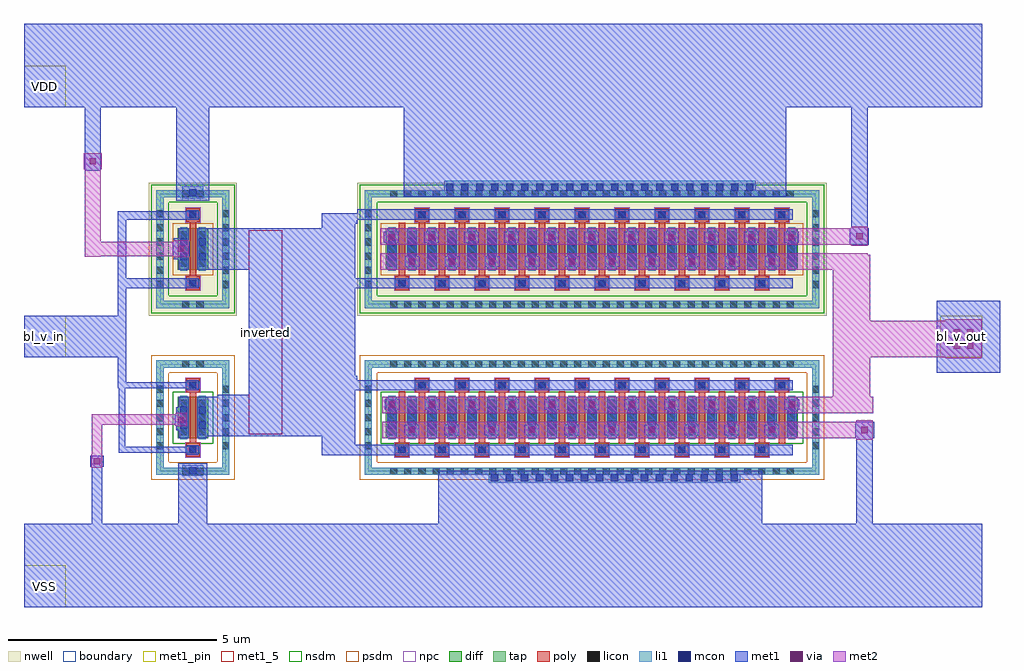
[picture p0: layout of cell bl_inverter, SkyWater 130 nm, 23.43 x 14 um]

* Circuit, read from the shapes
.subckt bl_inverter VDD VSS bl_v_in bl_v_out inverted
XM1 inverted bl_v_in VSS VSS sky130_fd_pr__nfet_01v8 w=1 l=0.15
XM2 VSS inverted bl_v_out VSS sky130_fd_pr__nfet_01v8 w=1 l=0.15 m=20
XM3 inverted bl_v_in VDD VDD sky130_fd_pr__pfet_01v8 w=1 l=0.15
XM4 bl_v_out inverted VDD VDD sky130_fd_pr__pfet_01v8 w=1 l=0.15 m=20
.ends

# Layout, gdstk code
import gdstk
lib = gdstk.Library(unit=1e-6, precision=1e-09)
def R(c, l, rs):  # rectangles x0, y0, x1, y1
    for r in rs: c.add(gdstk.rectangle(r[:2], r[2:], *l))
def A(c, l, x, y, w, h, nx, ny, dx, dy):  # array of equal rectangles
    R(c, l, [(x+i*dx, y+j*dy, x+i*dx+w, y+j*dy+h) for i in range(nx) for j in range(ny)])
nwell = (64, 20)
diff = (65, 20)
tap = (65, 44)
poly = (66, 20)
licon = (66, 44)
li1 = (67, 20)
mcon = (67, 44)
met1_5 = (68, 5)
met1_pin = (68, 16)
met1 = (68, 20)
via = (68, 44)
met2 = (69, 20)
nsdm = (93, 44)
psdm = (94, 20)
npc = (95, 20)
boundary = (235, 4)

sky130_fd_pr__pfet_01v8_ = lib.new_cell('sky130_fd_pr__pfet_01v8_XGS3BL')
R(sky130_fd_pr__pfet_01v8_, nwell, [(-1.055,-1.595,1.055,1.595)])
R(sky130_fd_pr__pfet_01v8_, diff, [(-0.365,-0.5,0.365,0.5)])
R(sky130_fd_pr__pfet_01v8_, tap, [(-0.875,-1.415,0.875,-1.245), (-0.875,-1.245,-0.705,1.245), (0.705,-1.245,0.875,1.245), (-0.875,1.245,0.875,1.415)])
R(sky130_fd_pr__pfet_01v8_, poly, [(-0.165,-0.985,0.165,-0.655), (-0.075,-0.655,0.075,0.655), (-0.165,0.655,0.165,0.985)])
A(sky130_fd_pr__pfet_01v8_, licon, -0.875, -0.935, 0.17, 0.17, 1, 6, 0, 0.34)
A(sky130_fd_pr__pfet_01v8_, licon, 0.705, -0.935, 0.17, 0.17, 1, 6, 0, 0.34)
A(sky130_fd_pr__pfet_01v8_, licon, -0.305, -0.425, 0.17, 0.17, 1, 3, 0, 0.34)
A(sky130_fd_pr__pfet_01v8_, licon, 0.135, -0.425, 0.17, 0.17, 1, 3, 0, 0.34)
R(sky130_fd_pr__pfet_01v8_, licon, [(-0.255,-1.415,-0.085,-1.245), (0.085,-1.415,0.255,-1.245), (-0.085,-0.905,0.085,-0.735), (-0.085,0.735,0.085,0.905), (-0.255,1.245,-0.085,1.415), (0.085,1.245,0.255,1.415)])
R(sky130_fd_pr__pfet_01v8_, li1, [(-0.875,-1.415,0.875,-1.245), (-0.875,-1.245,-0.705,1.245), (0.705,-1.245,0.875,1.245), (-0.165,-0.905,0.165,-0.735), (-0.305,-0.52,-0.135,0.52), (0.135,-0.52,0.305,0.52), (-0.165,0.735,0.165,0.905), (-0.875,1.245,0.875,1.415)])
R(sky130_fd_pr__pfet_01v8_, mcon, [(-0.085,-0.905,0.085,-0.735), (-0.305,-0.265,-0.135,-0.095), (0.135,-0.265,0.305,-0.095), (-0.305,0.095,-0.135,0.265), (0.135,0.095,0.305,0.265), (-0.085,0.735,0.085,0.905)])
R(sky130_fd_pr__pfet_01v8_, met1, [(-0.145,-0.935,0.145,-0.705), (-0.335,-0.5,-0.105,0.5), (0.105,-0.5,0.335,0.5), (-0.145,0.705,0.145,0.935)])
R(sky130_fd_pr__pfet_01v8_, nsdm, [(-1,-1.54,1,-1.12), (-1,-1.12,-0.58,1.12), (0.58,-1.12,1,1.12), (-1,1.12,1,1.54)])
R(sky130_fd_pr__pfet_01v8_, psdm, [(-0.49,-0.625,0.49,0.625)])
R(sky130_fd_pr__pfet_01v8_, npc, [(-0.185,-1.005,0.185,-0.635), (-0.185,0.635,0.185,1.005)])
R(sky130_fd_pr__pfet_01v8_, boundary, [(-0.79,-1.33,0.79,1.33)])

sky130_fd_pr__nfet_01v8_ = lib.new_cell('sky130_fd_pr__nfet_01v8_648S5X')
R(sky130_fd_pr__nfet_01v8_, diff, [(-0.365,-0.5,0.365,0.5)])
R(sky130_fd_pr__nfet_01v8_, tap, [(-0.875,-1.37,0.875,-1.2), (-0.875,-1.2,-0.705,1.2), (0.705,-1.2,0.875,1.2), (-0.875,1.2,0.875,1.37)])
R(sky130_fd_pr__nfet_01v8_, poly, [(-0.165,-0.94,0.165,-0.61), (-0.075,-0.61,0.075,0.61), (-0.165,0.61,0.165,0.94)])
A(sky130_fd_pr__nfet_01v8_, licon, -0.875, -0.765, 0.17, 0.17, 1, 5, 0, 0.34)
A(sky130_fd_pr__nfet_01v8_, licon, 0.705, -0.765, 0.17, 0.17, 1, 5, 0, 0.34)
A(sky130_fd_pr__nfet_01v8_, licon, -0.305, -0.425, 0.17, 0.17, 1, 3, 0, 0.34)
A(sky130_fd_pr__nfet_01v8_, licon, 0.135, -0.425, 0.17, 0.17, 1, 3, 0, 0.34)
R(sky130_fd_pr__nfet_01v8_, licon, [(-0.255,-1.37,-0.085,-1.2), (0.085,-1.37,0.255,-1.2), (-0.085,-0.86,0.085,-0.69), (-0.085,0.69,0.085,0.86), (-0.255,1.2,-0.085,1.37), (0.085,1.2,0.255,1.37)])
R(sky130_fd_pr__nfet_01v8_, li1, [(-0.875,-1.37,0.875,-1.2), (-0.875,-1.2,-0.705,1.2), (0.705,-1.2,0.875,1.2), (-0.165,-0.86,0.165,-0.69), (-0.305,-0.52,-0.135,0.52), (0.135,-0.52,0.305,0.52), (-0.165,0.69,0.165,0.86), (-0.875,1.2,0.875,1.37)])
R(sky130_fd_pr__nfet_01v8_, mcon, [(-0.085,-0.86,0.085,-0.69), (-0.305,-0.265,-0.135,-0.095), (0.135,-0.265,0.305,-0.095), (-0.305,0.095,-0.135,0.265), (0.135,0.095,0.305,0.265), (-0.085,0.69,0.085,0.86)])
R(sky130_fd_pr__nfet_01v8_, met1, [(-0.145,-0.89,0.145,-0.66), (-0.335,-0.5,-0.105,0.5), (0.105,-0.5,0.335,0.5), (-0.145,0.66,0.145,0.89)])
R(sky130_fd_pr__nfet_01v8_, nsdm, [(-0.49,-0.625,0.49,0.625)])
R(sky130_fd_pr__nfet_01v8_, psdm, [(-1,-1.495,1,-1.075), (-1,-1.075,-0.58,1.075), (0.58,-1.075,1,1.075), (-1,1.075,1,1.495)])
R(sky130_fd_pr__nfet_01v8_, npc, [(-0.185,-0.96,0.185,-0.59), (-0.185,0.59,0.185,0.96)])
R(sky130_fd_pr__nfet_01v8_, boundary, [(-0.79,-1.285,0.79,1.285)])

c_sky130_fd_pr__pfet_01v8_ = lib.new_cell('sky130_fd_pr__pfet_01v8_8DVCWJ')
R(c_sky130_fd_pr__pfet_01v8_, nwell, [(-5.635,-1.595,5.635,1.595)])
R(c_sky130_fd_pr__pfet_01v8_, diff, [(-4.945,-0.5,4.945,0.5)])
R(c_sky130_fd_pr__pfet_01v8_, tap, [(-5.455,-1.415,5.455,-1.245), (-5.455,-1.245,-5.285,1.245), (5.285,-1.245,5.455,1.245), (-5.455,1.245,5.455,1.415)])
A(c_sky130_fd_pr__pfet_01v8_, poly, -4.725, -0.985, 0.33, 0.33, 10, 1, 0.96, 0)
A(c_sky130_fd_pr__pfet_01v8_, poly, -4.635, -0.655, 0.15, 1.285, 10, 1, 0.96, 0)
A(c_sky130_fd_pr__pfet_01v8_, poly, -4.155, -0.63, 0.15, 1.285, 10, 1, 0.96, 0)
A(c_sky130_fd_pr__pfet_01v8_, poly, -4.245, 0.655, 0.33, 0.33, 10, 1, 0.96, 0)
A(c_sky130_fd_pr__pfet_01v8_, licon, -4.845, -1.415, 0.17, 0.17, 29, 2, 0.34, 2.66)
A(c_sky130_fd_pr__pfet_01v8_, licon, -5.455, -0.935, 0.17, 0.17, 1, 6, 0, 0.34)
A(c_sky130_fd_pr__pfet_01v8_, licon, 5.285, -0.935, 0.17, 0.17, 1, 6, 0, 0.34)
A(c_sky130_fd_pr__pfet_01v8_, licon, -4.645, -0.905, 0.17, 0.17, 10, 1, 0.96, 0)
A(c_sky130_fd_pr__pfet_01v8_, licon, -4.885, -0.425, 0.17, 0.17, 21, 3, 0.48, 0.34)
A(c_sky130_fd_pr__pfet_01v8_, licon, -4.165, 0.735, 0.17, 0.17, 10, 1, 0.96, 0)
A(c_sky130_fd_pr__pfet_01v8_, li1, -4.725, -0.905, 0.33, 0.17, 10, 1, 0.96, 0)
A(c_sky130_fd_pr__pfet_01v8_, li1, -4.885, -0.52, 0.17, 1.04, 21, 1, 0.48, 0)
A(c_sky130_fd_pr__pfet_01v8_, li1, -4.245, 0.735, 0.33, 0.17, 10, 1, 0.96, 0)
R(c_sky130_fd_pr__pfet_01v8_, li1, [(-5.455,-1.415,5.455,-1.245), (-5.455,-1.245,-5.285,1.245), (5.285,-1.245,5.455,1.245), (-5.455,1.245,5.455,1.415)])
A(c_sky130_fd_pr__pfet_01v8_, mcon, -4.645, -0.905, 0.17, 0.17, 10, 1, 0.96, 0)
A(c_sky130_fd_pr__pfet_01v8_, mcon, -4.885, -0.265, 0.17, 0.17, 21, 2, 0.48, 0.36)
A(c_sky130_fd_pr__pfet_01v8_, mcon, -4.165, 0.735, 0.17, 0.17, 10, 1, 0.96, 0)
A(c_sky130_fd_pr__pfet_01v8_, met1, -4.705, -0.935, 0.29, 0.23, 10, 1, 0.96, 0)
A(c_sky130_fd_pr__pfet_01v8_, met1, -4.915, -0.5, 0.23, 1, 21, 1, 0.48, 0)
A(c_sky130_fd_pr__pfet_01v8_, met1, -4.225, 0.705, 0.29, 0.23, 10, 1, 0.96, 0)
R(c_sky130_fd_pr__pfet_01v8_, nsdm, [(-5.58,-1.54,5.58,-1.12), (-5.58,-1.12,-5.16,1.12), (5.16,-1.12,5.58,1.12), (-5.58,1.12,5.58,1.54)])
R(c_sky130_fd_pr__pfet_01v8_, psdm, [(-5.07,-0.625,5.07,0.625)])
A(c_sky130_fd_pr__pfet_01v8_, npc, -4.745, -1.005, 0.37, 0.37, 10, 1, 0.96, 0)
A(c_sky130_fd_pr__pfet_01v8_, npc, -4.265, 0.635, 0.37, 0.37, 10, 1, 0.96, 0)
R(c_sky130_fd_pr__pfet_01v8_, boundary, [(-5.37,-1.33,5.37,1.33)])

c_sky130_fd_pr__nfet_01v8_ = lib.new_cell('sky130_fd_pr__nfet_01v8_YTLFGX')
R(c_sky130_fd_pr__nfet_01v8_, diff, [(-4.945,-0.5,4.945,0.5)])
R(c_sky130_fd_pr__nfet_01v8_, tap, [(-5.455,-1.37,5.455,-1.2), (-5.455,-1.2,-5.285,1.2), (5.285,-1.2,5.455,1.2), (-5.455,1.2,5.455,1.37)])
A(c_sky130_fd_pr__nfet_01v8_, poly, -4.725, -0.94, 0.33, 0.33, 10, 1, 0.96, 0)
A(c_sky130_fd_pr__nfet_01v8_, poly, -4.155, -0.63, 0.15, 1.24, 10, 1, 0.96, 0)
A(c_sky130_fd_pr__nfet_01v8_, poly, -4.635, -0.61, 0.15, 1.24, 10, 1, 0.96, 0)
A(c_sky130_fd_pr__nfet_01v8_, poly, -4.245, 0.61, 0.33, 0.33, 10, 1, 0.96, 0)
A(c_sky130_fd_pr__nfet_01v8_, licon, -4.845, -1.37, 0.17, 0.17, 29, 2, 0.34, 2.57)
A(c_sky130_fd_pr__nfet_01v8_, licon, -4.645, -0.86, 0.17, 0.17, 10, 1, 0.96, 0)
A(c_sky130_fd_pr__nfet_01v8_, licon, -5.455, -0.765, 0.17, 0.17, 1, 5, 0, 0.34)
A(c_sky130_fd_pr__nfet_01v8_, licon, 5.285, -0.765, 0.17, 0.17, 1, 5, 0, 0.34)
A(c_sky130_fd_pr__nfet_01v8_, licon, -4.885, -0.425, 0.17, 0.17, 21, 3, 0.48, 0.34)
A(c_sky130_fd_pr__nfet_01v8_, licon, -4.165, 0.69, 0.17, 0.17, 10, 1, 0.96, 0)
A(c_sky130_fd_pr__nfet_01v8_, li1, -4.725, -0.86, 0.33, 0.17, 10, 1, 0.96, 0)
A(c_sky130_fd_pr__nfet_01v8_, li1, -4.885, -0.52, 0.17, 1.04, 21, 1, 0.48, 0)
A(c_sky130_fd_pr__nfet_01v8_, li1, -4.245, 0.69, 0.33, 0.17, 10, 1, 0.96, 0)
R(c_sky130_fd_pr__nfet_01v8_, li1, [(-5.455,-1.37,5.455,-1.2), (-5.455,-1.2,-5.285,1.2), (5.285,-1.2,5.455,1.2), (-5.455,1.2,5.455,1.37)])
A(c_sky130_fd_pr__nfet_01v8_, mcon, -4.645, -0.86, 0.17, 0.17, 10, 1, 0.96, 0)
A(c_sky130_fd_pr__nfet_01v8_, mcon, -4.885, -0.265, 0.17, 0.17, 21, 2, 0.48, 0.36)
A(c_sky130_fd_pr__nfet_01v8_, mcon, -4.165, 0.69, 0.17, 0.17, 10, 1, 0.96, 0)
A(c_sky130_fd_pr__nfet_01v8_, met1, -4.705, -0.89, 0.29, 0.23, 10, 1, 0.96, 0)
A(c_sky130_fd_pr__nfet_01v8_, met1, -4.915, -0.5, 0.23, 1, 21, 1, 0.48, 0)
A(c_sky130_fd_pr__nfet_01v8_, met1, -4.225, 0.66, 0.29, 0.23, 10, 1, 0.96, 0)
R(c_sky130_fd_pr__nfet_01v8_, nsdm, [(-5.07,-0.625,5.07,0.625)])
R(c_sky130_fd_pr__nfet_01v8_, psdm, [(-5.58,-1.495,5.58,-1.075), (-5.58,-1.075,-5.16,1.075), (5.16,-1.075,5.58,1.075), (-5.58,1.075,5.58,1.495)])
A(c_sky130_fd_pr__nfet_01v8_, npc, -4.745, -0.96, 0.37, 0.37, 10, 1, 0.96, 0)
A(c_sky130_fd_pr__nfet_01v8_, npc, -4.265, 0.59, 0.37, 0.37, 10, 1, 0.96, 0)
R(c_sky130_fd_pr__nfet_01v8_, boundary, [(-5.37,-1.285,5.37,1.285)])

bl_inverter = lib.new_cell('bl_inverter')
R(bl_inverter, li1, [(17.16,-7.015,23.19,-6.77), (9.8,-6.85,10.3,-6.6), (9.8,-0.2,10.3,0.1), (16.085,-0.075,23.57,0.235)])
A(bl_inverter, mcon, 17.21, -6.98, 0.17, 0.17, 17, 1, 0.36, 0)
A(bl_inverter, mcon, 16.14, -0.005, 0.17, 0.17, 21, 1, 0.36, 0)
R(bl_inverter, mcon, [(9.965,-6.81,10.135,-6.64), (9.965,-0.135,10.135,0.035)])
R(bl_inverter, met1_5, [(11.4,-5.85,12.2,-0.95)])
A(bl_inverter, met1_pin, 6, -10, 1, 1, 1, 3, 0, 6)
R(bl_inverter, met1_pin, [(28,-4,29,-3)])
A(bl_inverter, met1, 15.13, -5.88, 0.36, 0.26, 10, 1, 0.96, 0)
A(bl_inverter, met1, 14.655, -5.265, 0.36, 0.26, 11, 1, 0.96, 0)
A(bl_inverter, met1, 15.14, -1.835, 0.36, 0.26, 10, 1, 0.96, 0)
A(bl_inverter, met1, 14.64, -1.25, 0.36, 0.26, 11, 1, 0.96, 0)
R(bl_inverter, met1, [(6,-10,29,-8), (7.625,-8,7.875,-6.63), (9.7,-8,10.4,-6.55), (15.95,-8,23.725,-6.73), (25.985,-8,26.38,-5.95), (7.59,-6.63,7.91,-6.37), (13.15,-6.35,24.45,-6.1), (8.275,-6.3,10.2,-6.15), (8.275,-6.15,8.425,-4.75), (13.15,-6.1,13.95,-5.9), (25.95,-5.95,26.41,-5.55), (10.2,-5.9,13.95,-4.95), (9.65,-5.75,9.9,-5.63), (9.615,-5.63,9.935,-5.37), (9.65,-5.37,9.9,-5.2), (10.65,-4.95,13.95,-4.9), (11.4,-4.9,13.95,-4.8), (11.4,-4.8,24.45,-4.55), (8.25,-4.75,10.2,-4.6), (8.25,-4.6,8.45,-4), (11.4,-4.55,14,-4.45), (11.4,-4.45,13.95,-2.35), (27.91,-4.38,29.43,-2.65), (6,-4,8.45,-3), (8.25,-3,8.45,-2.35), (8.25,-2.35,10.2,-2.1), (11.4,-2.35,24.45,-2.1), (8.25,-2.1,8.45,-0.7), (11.4,-2.1,13.95,-1.9), (10.2,-1.9,13.95,-0.9), (9.6,-1.65,9.95,-1.575), (9.57,-1.575,9.98,-1.225), (25.825,-1.3,26.285,-0.9), (9.6,-1.225,9.95,-1.15), (13.15,-0.9,13.95,-0.8), (25.855,-0.9,26.255,2), (13.15,-0.8,14,-0.7), (8.25,-0.7,10.2,-0.5), (13.15,-0.7,24.45,-0.55), (14,-0.55,24.45,-0.45), (9.65,-0.25,10.45,2), (15.115,-0.15,24.3,2), (7.46,0.48,7.84,2), (6,2,29,4)])
A(bl_inverter, via, 15.235, -5.825, 0.15, 0.15, 10, 1, 0.96, 0)
A(bl_inverter, via, 14.76, -5.21, 0.15, 0.15, 11, 1, 0.96, 0)
A(bl_inverter, via, 15.245, -1.78, 0.15, 0.15, 10, 1, 0.96, 0)
A(bl_inverter, via, 14.745, -1.195, 0.15, 0.15, 11, 1, 0.96, 0)
R(bl_inverter, via, [(7.675,-6.575,7.825,-6.425), (26.105,-5.825,26.255,-5.675), (9.7,-5.575,9.85,-5.425), (28.32,-3.8,28.47,-3.65), (28.64,-3.8,28.79,-3.65), (28.32,-3.48,28.47,-3.33), (28.64,-3.48,28.79,-3.33), (9.7,-1.475,9.85,-1.325), (25.98,-1.175,26.13,-1.025), (7.575,0.625,7.725,0.775)])
R(bl_inverter, met2, [(7.62,-6.66,7.88,-6.34), (7.625,-6.34,7.875,-5.625), (25.98,-5.98,26.38,-5.95), (14.6,-5.95,26.38,-5.55), (9.645,-5.66,9.905,-5.625), (7.625,-5.625,9.905,-5.375), (25.98,-5.55,26.38,-5.52), (9.645,-5.375,9.905,-5.34), (14.6,-5.35,26.385,-4.95), (25.42,-4.95,26.32,-4), (28.12,-4.03,28.995,-4), (25.42,-4,28.995,-3.125), (25.42,-3.125,26.32,-1.9), (28.12,-3.125,28.995,-3.095), (14.55,-1.9,26.32,-1.545), (9.6,-1.605,9.95,-1.575), (7.46,-1.59,7.84,-1.575), (7.46,-1.575,9.95,-1.225), (14.55,-1.545,26.26,-1.5), (25.855,-1.33,26.255,-1.3), (14.55,-1.3,26.255,-0.9), (7.46,-1.225,7.84,0.51), (9.6,-1.225,9.95,-1.195), (25.855,-0.9,26.255,-0.87), (7.43,0.51,7.87,0.89)])
bl_inverter.add(gdstk.Reference(sky130_fd_pr__pfet_01v8_, (10.055,-1.405)))
bl_inverter.add(gdstk.Reference(sky130_fd_pr__nfet_01v8_, (10.055,-5.45)))
bl_inverter.add(gdstk.Reference(c_sky130_fd_pr__pfet_01v8_, (19.635,-1.405)))
bl_inverter.add(gdstk.Reference(c_sky130_fd_pr__nfet_01v8_, (19.635,-5.45)))
bl_inverter.add(gdstk.Label('inverted', (11.8,-3.4), layer=68, texttype=5))
bl_inverter.add(gdstk.Label('VDD', (6.5,2.5), layer=68, texttype=5))
bl_inverter.add(gdstk.Label('bl_v_in', (6.5,-3.5), layer=68, texttype=5))
bl_inverter.add(gdstk.Label('bl_v_out', (28.5,-3.5), layer=68, texttype=5))
bl_inverter.add(gdstk.Label('VSS', (6.5,-9.5), layer=68, texttype=5))

lib.write_gds('bl_inverter.gds')
